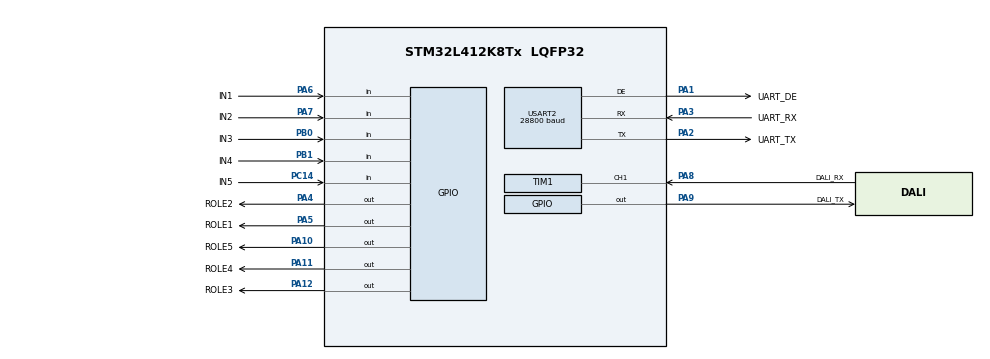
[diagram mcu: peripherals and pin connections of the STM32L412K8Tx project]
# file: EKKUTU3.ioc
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Dma.Request0=USART2_RX
Dma.USART2_RX.0.Direction=DMA_PERIPH_TO_MEMORY
Dma.USART2_RX.0.Instance=DMA1_Channel6
Dma.USART2_RX.0.MemDataAlignment=DMA_MDATAALIGN_BYTE
Dma.USART2_RX.0.MemInc=DMA_MINC_ENABLE
Dma.USART2_RX.0.Mode=DMA_NORMAL
Dma.USART2_RX.0.PeriphDataAlignment=DMA_PDATAALIGN_BYTE
Dma.USART2_RX.0.PeriphInc=DMA_PINC_DISABLE
Dma.USART2_RX.0.Priority=DMA_PRIORITY_LOW
Mcu.Family=STM32L4
Mcu.Name=STM32L412K8Tx
Mcu.Package=LQFP32
NVIC.DMA1_Channel6_IRQn=true\:0\:0\:false\:false\:true\:false\:true\:true
NVIC.PriorityGroup=NVIC_PRIORITYGROUP_4
NVIC.TIM1_BRK_TIM15_IRQn=true\:1\:0\:true\:false\:true\:true\:true\:true
NVIC.TIM1_CC_IRQn=true\:1\:0\:true\:false\:true\:true\:true\:true
NVIC.TIM1_UP_TIM16_IRQn=true\:1\:0\:true\:false\:true\:true\:true\:true
NVIC.TIM2_IRQn=true\:0\:0\:false\:false\:true\:true\:true\:true
NVIC.TIM6_IRQn=true\:1\:0\:true\:false\:true\:true\:true\:true
NVIC.USART2_IRQn=true\:6\:0\:true\:false\:true\:true\:true\:true
PA1.GPIO_Label=UART_DE
PA1.GPIO_PuPd=GPIO_PULLDOWN
PA1.Mode=Hardware Flow Control (RS485)
PA1.Signal=USART2_DE
PA10.GPIO_Label=ROLE5
PA10.Signal=GPIO_Output
PA11.GPIO_Label=ROLE4
PA11.Signal=GPIO_Output
PA12.GPIO_Label=ROLE3
PA12.Signal=GPIO_Output
PA2.GPIO_Label=UART_TX
PA2.Mode=Asynchronous
PA2.Signal=USART2_TX
PA3.GPIO_Label=UART_RX
PA3.Mode=Asynchronous
PA3.Signal=USART2_RX
PA4.GPIO_Label=ROLE2
PA4.Signal=GPIO_Output
PA5.GPIO_Label=ROLE1
PA5.Signal=GPIO_Output
PA6.GPIO_Label=IN1
PA6.Signal=GPIO_Input
PA7.GPIO_Label=IN2
PA7.Signal=GPIO_Input
PA8.GPIO_Label=DALI_RX
PA8.GPIO_PuPd=GPIO_NOPULL
PA8.GPIO_Speed=GPIO_SPEED_FREQ_HIGH
PA8.Signal=S_TIM1_CH1
PA9.GPIO_Label=DALI_TX
PA9.GPIO_Speed=GPIO_SPEED_FREQ_MEDIUM
PA9.PinState=GPIO_PIN_SET
PA9.Signal=GPIO_Output
PB0.GPIO_Label=IN3
PB0.Signal=GPIO_Input
PB1.GPIO_Label=IN4
PB1.Signal=GPIO_Input
PC14-OSC32_IN\ (PC14).GPIO_Label=IN5
PC14-OSC32_IN\ (PC14).GPIO_PuPd=GPIO_PULLUP
PC14-OSC32_IN\ (PC14).Signal=GPIO_Input
ProjectManager.HeapSize=0x200
ProjectManager.StackSize=0x400
ProjectManager.TargetToolchain=CMake
RCC.ADCFreq_Value=48000000
RCC.AHBFreq_Value=48000000
RCC.APB1Freq_Value=48000000
RCC.APB1TimFreq_Value=48000000
RCC.APB2Freq_Value=48000000
RCC.APB2TimFreq_Value=48000000
RCC.CortexFreq_Value=48000000
RCC.HCLKFreq_Value=48000000
RCC.HSE_VALUE=8000000
RCC.HSI48_VALUE=48000000
RCC.HSI_VALUE=16000000
RCC.LSE_VALUE=32768
RCC.MSIClockRange=RCC_MSIRANGE_11
RCC.MSI_VALUE=48000000
RCC.SYSCLKFreq_VALUE=48000000
RCC.USBFreq_Value=48000000
RCC.VCOOutputFreq_Value=384000000
SH.S_TIM1_CH1.0=TIM1_CH1,Input_Capture1_from_TI1
TIM1.Channel-Input_Capture1_from_TI1=TIM_CHANNEL_1
TIM1.ICFilter_CH1=10
TIM1.ICPolarity_CH1=TIM_INPUTCHANNELPOLARITY_BOTHEDGE
TIM1.Period=5000
TIM1.Prescaler=47
TIM15.Period=9999
TIM15.Prescaler=479
TIM16.Prescaler=47
TIM2.Period=9999
TIM2.Prescaler=47
TIM6.Period=9999
TIM6.Prescaler=479
USART2.BaudRate=28800
USART2.VirtualMode-Asynchronous=VM_ASYNC
USART2.VirtualMode-Hardware\ Flow\ Control\ (RS485)=VM_ASYNC
VP_TIM15_VS_ClockSourceINT.Mode=Internal
VP_TIM15_VS_OPM.Mode=OPM_bit
VP_TIM16_VS_ClockSourceINT.Mode=Enable_Timer
VP_TIM1_VS_ClockSourceINT.Mode=Internal
VP_TIM2_VS_ClockSourceINT.Mode=Internal
VP_TIM6_VS_ClockSourceINT.Mode=Enable_Timer
board=custom

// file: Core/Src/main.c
/* USER CODE BEGIN Header */

    #include <sys/types.h>
    #include <time.h>

    /*
      5 adet dali lamba adresler.

      5. Tuş Lamba Aç Kapat
         **** Uzun Basma Adresleri SIL
            ---------
      RS485 destegi var. Tüm komutlar "rl1_" öneki taşır — STM32 bu öneki
      görünce içeriğe bakmadan RS485<->ESP32 arasında olduğu gibi iletir,
      yeni bir rl1_ komutu eklemek STM32 tarafında değişiklik gerektirmez.

      Komutlar:
        {"com":"rl1_adres","dev":xx,"adr":yy}
           dev : 1 Lamba
                 2 Lamba
                 3 Lamba
                 4 Lamba
                 5 Lamba
           adr : 0-63 veya 255 (adresi sil)

        {"com":"rl1_get_adres"}              -> cevap: {"com":"rl1_get_adres","adr":[a1,a2,a3,a4,a5]}
           5 kanalın (Lamba 1-5) o anki DALI adreslerini tek seferde döner.
           255 = adres atanmamış.

        {"com":"rl1_status","dev":xx,"durum":yy}
           dev : 1-5
           durum :   0 Close
                     1 Open
                     2 Toggle

        {"com":"rl1_get_id"}                 -> cevap: {"com":"rl1_get_id","id":X,"frmtype":Y,"fwver":"Z"}
           frmtype : firmware/donanım tipi, aynı rl1_ protokolünü konuşan farklı
                     uç kartları ayırt etmek için. ROLE1 (5li röle) = 1.
           fwver   : gömülü firmware versiyonu (RL1_FW_VERSION), configurator'da
                     gösterilmek üzere.
        {"com":"rl1_set_id","id":X}          -> board'un kalıcı RS485 kimliğini atar
                                                 (X<254; 254/255 ayrılmış)

        {"com":"rl1_set_tustype","dev":xx,"type":yy}
           dev : 1-5 (Lamba N'nin fiziksel tuşu)
           type: 0 = toggle (basma onaylanınca aç/kapa değiştir, varsayılan)
                 1 = momentary (basılıyken aç, bırakılınca kapat)
        {"com":"rl1_get_tustype"}            -> cevap: {"com":"rl1_get_tustype","type":[t1,t2,t3,t4,t5]}

        {"com":"rl1_reset_params","dev":xx}  -> cevap: {"com":"rl1_reset_params","dev":xx,"ok":1}
           dev : 1-5
           İlgili kanalın DALI parametrelerini (groups, min/max/power_on/
           system_failure level, fade/efade, PHM) fabrika varsayılanına
           döndürür. short_address/uart_ID/tus_type'a DOKUNMAZ — eski struct
           layout'uyla flaşlanmış (def=0x55 zaten yazılı, read_eeprom'daki
           ilklendirme hiç tetiklenmemiş) kartlarda bu alanlarda çöp veri
           kalabiliyor; bu komut ST-Link olmadan, sahada RS485 üzerinden
           düzeltilmesini sağlar.

        --- Üretim/Fabrika Testi (test masası, adresleme ÖNCESİ) ---
        {"com":"rl1_status_all","durum":yy}  -> cevap yok (fire-and-forget)
           5 rölenin HEPSİNİ birden etkiler. durum: rl1_status ile aynı
           (0=Kapat,1=Aç,2=Toggle). Operatör tüm röleleri tek komutla
           açıp/kapatıp hepsinin tık sesini/çalıştığını duyabilsin diye.

        {"com":"rl1_set_testmode","mode":X}  -> cevap: {"com":"rl1_set_testmode","mode":X}
           X: 1=aç, 0=kapat. SADECE RAM'de tutulur, EEPROM'a yazılmaz —
           her güç kesilmesinde otomatik false'a döner (fail-safe: sahaya
           giden bir kart yanlışlıkla test modunda kalmaz).
        {"com":"rl1_get_testmode"}           -> cevap: {"com":"rl1_get_testmode","mode":X}

           Test modu AÇIKKEN: fiziksel Tus1-5'ten biri basılınca/bırakılınca,
           normal lokal röle davranışına EK OLARAK RS485'e de bildirilir:
           {"com":"rl1_tus","dev":xx,"durum":yy}  (dev:1-5, durum:0=bırakıldı/1=basıldı)
           Fabrika test ekranı bunu dinleyip operatörün 5 tuşa da bastığını
           canlı olarak doğrulayabilsin diye.
            --------
    Created Version 2.0
      Tarih : 16.05.2025
    Version 2.1 — rl1_reset_params, rl1_status_all, rl1_set/get_testmode,
      test modunda rl1_tus tuş raporlama
      Tarih : 19.08.2026

    -----------------------------------

    TIM1 DaliRX Timer 1us
    TIM16 Dali Delay Timer 1us
    TIM15 Dali Twice timer (one pulse) 100ms
    Tim6 Sleep Timer 100ms

    Tim2  Global Timer 10ms taşma
    */

/**
  ******************************************************************************
  * @file           : main.c
  * @brief          : Main program body
  ******************************************************************************
  * @attention
  *
  * Copyright (c) 2026 STMicroelectronics.
  * All rights reserved.
  *
  * This software is licensed under terms that can be found in the LICENSE file
  * in the root directory of this software component.
  * If no LICENSE file comes with this software, it is provided AS-IS.
  *
  ******************************************************************************
  */
/* USER CODE END Header */
#include "main.h"

/* USER CODE BEGIN Includes */
/*.   ------------- ONEMLI ---------------
     İşlemci normalde ramden çalışmak için programlanmış. Boot0 pinini (31 nolu pin)
     10k ile GND ye çekmediğimizden start ramden yapılıyor. BOOT0 pinini fiziksel
     GND ye çekmemek için OPTION BYTE üzerinden SWBOOT0 ı uncheck yapıyoruz.
     Bunun için PRG programı OB sekmesi User configde nSWBOOT0 ın checkini kaldırıp
     kaydediyoruz.
*/

#include "string.h"
#include "dali_cln03.h"
#include "eprom.h"
#include "stdio.h"
#include "dali_tool.h"
#include "relay.h"
#include "stm32l4xx_ll_gpio.h"
#include "jsmn.h"
#include "jsmn_tool.c"

/* USER CODE END Includes */

/* USER CODE BEGIN PD */
#define RX_BUFFER_SIZE 512
uint8_t uart2_rx_buffer[RX_BUFFER_SIZE];

DALI_t dali;
volatile DALI_Address_t AdresList[DALI_ADDRESS_COUNT] = {0};
Relay_t relays[5];

/* USER CODE END PD */

UART_HandleTypeDef huart2;
DMA_HandleTypeDef hdma_usart2_rx;

/* USER CODE BEGIN PV */
#define BTN_DEBOUNCE_TICKS 20 // 200ms (20 * 10ms)
static uint16_t btn_debounce_timers[5] = {BTN_DEBOUNCE_TICKS, BTN_DEBOUNCE_TICKS, BTN_DEBOUNCE_TICKS, BTN_DEBOUNCE_TICKS, BTN_DEBOUNCE_TICKS};
static uint8_t  btn_last_raw_states[5] = {0};

// Fabrika/atölye test modu — SADECE RAM'de tutulur, EEPROM'a YAZILMAZ.
// Kasıtlı: her güç kesilip-verilmesinde (kutulama/nakliye/saha kurulumu
// sırasında) otomatik olarak kapanır (fail-safe varsayılan=false), böylece
// "test modunu kapatmayı unuttuk" diye sahada gereksiz RS485 trafiği üreten
// bir kart kalmaz. rl1_set_testmode ile açılır/kapanır.
static volatile bool rl1_test_mode = false;

// rl1_dalitst: DALI çıkışının fiziksel olarak çalışıp çalışmadığını
// (osiloskopla) görsel test etmek için — komut her geldiğinde TOGGLE olur.
// Aktifken 2sn boyunca her 10ms'de bir DALI "1" biti gönderilir (hat üzerinde
// ~50Hz'lik gözle görülür bir aktivite), sonra 2sn tamamen durur, bu döngü
// tekrar komut gelene (ya da test modu kapanana) kadar sürer. RAM-only,
// EEPROM'a yazılmaz. Zamanlama TIM2'nin zaten var olan 10ms tick'inde
// (Timeout_Callback) bir sayaç ile yönetiliyor — RTOS/thread gerekmez.
static volatile bool rl1_dalitst_active = false;
static volatile bool rl1_dalitst_on_phase = false;
static volatile uint16_t rl1_dalitst_counter = 0;
#define RL1_DALITST_PHASE_TICKS 200 // 200 * 10ms = 2000ms

// Tus1-5'in hepsi artık EXTI ile tetikleniyor. Bu bayraklar bir kenar
// geldiğini işaret eder; Button_Filter_Update sadece bayrak set edildiğinde
// ilgili tuşun debounce'unu çalıştırır, aksi halde her 10ms'de boşuna pin okumaz.
volatile bool tus1_watch_active = false;
volatile bool tus2_watch_active = false;
volatile bool tus3_watch_active = false;
volatile bool tus4_watch_active = false;
volatile bool tus5_watch_active = false;

/* USER CODE END PV */

void SystemClock_Config(void);
static void MX_GPIO_Init(void);
static void MX_DMA_Init(void);
static void MX_TIM1_Init(void);
static void MX_TIM6_Init(void);
static void MX_TIM15_Init(void);
static void MX_TIM16_Init(void);
static void MX_USART2_UART_Init(void);
static void MX_TIM2_Init(void);

/* USER CODE BEGIN 0 */

#ifdef __GNUC__
#define PUTCHAR_PROTOTYPE int __io_putchar(int ch)
#else
  #define PUTCHAR_PROTOTYPE int fputc(int ch, FILE *f)
#endif
PUTCHAR_PROTOTYPE {
    uint8_t temp = (uint8_t)ch;
    HAL_UART_Transmit(&huart2, &temp, 1, HAL_MAX_DELAY);
    return ch;
}

void Capture_Callback(TIM_TypeDef *TIMx)
{
   dali.capture_handle(&dali,TIMx);
}

// EXTI1'den (Tus1/IN4/PB1, her iki kenar) çağrılır. Hafif tutulmalı: sadece
// "bir kenar geldi, debounce'a bak" bayrağını set eder, işi Button_Filter_Update
// (10ms tick) yapar — aynı bounce toleransı (500ms) korunur.

void Button1_EXTI_Callback(void)
{
    tus1_watch_active = true;
}

// EXTI0'dan (Tus2/IN3/PB0, her iki kenar) çağrılır — Button1_EXTI_Callback ile aynı desen.
void Button2_EXTI_Callback(void)
{
    tus2_watch_active = true;
}

// EXTI9_5'ten (Tus3/IN2/PA7, her iki kenar) çağrılır — aynı desen.
void Button3_EXTI_Callback(void)
{
    tus3_watch_active = true;
}

// EXTI9_5'ten (Tus4/IN1/PA6, her iki kenar) çağrılır — aynı desen.
void Button4_EXTI_Callback(void)
{
    tus4_watch_active = true;
}

// EXTI15_10'dan (Tus5/IN5/PC14, her iki kenar) çağrılır — aynı desen.
void Button5_EXTI_Callback(void)
{
    tus5_watch_active = true;
}

// EXTI ile tetiklenen tuşlar için ortak debounce: bir kenar gelmediyse
// (*watch_active == false) pini her 10ms'de boşuna okumuyoruz; kenar
// geldiyse seviye BTN_DEBOUNCE_TICKS boyunca kararlı kalınca handler'ı
// çağırıp tekrar uykuya geçiyoruz.
static void Debounce_Watched_Button(volatile bool *watch_active, GPIO_TypeDef *port, uint32_t pin,
                                     uint8_t idx, void (*handler)(uint32_t))
{
    if (!*watch_active) return;

    uint8_t raw = !LL_GPIO_IsInputPinSet(port, pin);
    if (raw != btn_last_raw_states[idx]) {
        btn_debounce_timers[idx] = 0;
        btn_last_raw_states[idx] = raw;
    } else if (btn_debounce_timers[idx] < BTN_DEBOUNCE_TICKS) {
        if (++btn_debounce_timers[idx] == BTN_DEBOUNCE_TICKS) {
            handler(raw);
            *watch_active = false;
        }
    }
}

void Button_Filter_Update(void) {
    Debounce_Watched_Button(&tus1_watch_active, IN4_GPIO_Port, IN4_Pin, 0, Tus1);
    Debounce_Watched_Button(&tus2_watch_active, IN3_GPIO_Port, IN3_Pin, 1, Tus2);
    Debounce_Watched_Button(&tus3_watch_active, IN2_GPIO_Port, IN2_Pin, 2, Tus3);
    Debounce_Watched_Button(&tus4_watch_active, IN1_GPIO_Port, IN1_Pin, 3, Tus4);
    Debounce_Watched_Button(&tus5_watch_active, IN5_GPIO_Port, IN5_Pin, 4, Tus5);
}

void Timeout_Callback(TIM_TypeDef *TIMx)
{
   if (TIMx!= TIM2) {
    dali.timeout_handle(&dali,TIMx);
  } else {
    // TIM2 10ms Interrupt
    for (int i=0;i<5;i++) {
      Relay_HandleTIMER(&relays[i]);
    }

    Button_Filter_Update();

    if (rl1_dalitst_active) {
      if (rl1_dalitst_on_phase) {
        DALI_Send_Test_Tick(&dali);
      }
      if (++rl1_dalitst_counter >= RL1_DALITST_PHASE_TICKS) {
        rl1_dalitst_counter = 0;
        rl1_dalitst_on_phase = !rl1_dalitst_on_phase;
      }
    }
  }
}

void Adr_Reset(void)
{
    LL_GPIO_SetOutputPin(ROLE1_GPIO_Port, ROLE1_Pin);
    for (int i = 0; i < DALI_ADDRESS_COUNT; i++) {
      AdresList[i].short_address = 0xff;
    }
    write_eeprom(AdresList);
    for (int i = 0; i < 10; i++) {
      LL_GPIO_TogglePin(ROLE1_GPIO_Port, ROLE1_Pin);
      LL_mDelay(200);
    }
  NVIC_SystemReset(); //

}

void DaliDataCallback(uint32_t rxdata, uint8_t bit)
{
    if (bit == 16) {
        // 16 bitlik veri: [Adres Byte (8 bit)][Veri Byte (8 bit)]
        uint8_t addr_byte = (uint8_t)((rxdata >> 8) & 0xFF);
        uint8_t data_byte = (uint8_t)(rxdata & 0xFF);

        DALI_DecodedAddr_t addr = DALI_Decode_Address(addr_byte);

        if (addr.type==DALI_ADDR_SPECIAL) {
           if (addr.value==0xA7) { //RANDOMISE
              //uint32_t radr = (my_rand() & 0xFFFFFF);
              uint32_t radr = (my_rand() & 0xFFFFFF);
              for (int i = 0; i < 5; i++) {
                if (relays[i].is_init) {
                    relays[i].config->random_address = radr;
                    radr++;
                }
              }
              return;
          }
        }

        // Tüm Blindlere gelen paketi kontrol etmesi için gönder
        for (int i = 0; i < 5; i++) {
            uint8_t kk=Relay_HandleDALI(&relays[i], addr, data_byte);
            if (kk==1) {
              break;
            }
        }
    } else if (bit == 8) {
        // Genellikle cihazdan gelen cevap (Backward Frame)
        printf("Geri Bildirim (Backward Frame): 0x%02lX\n", rxdata);
    }
}

void DaliErrorCallback(uint8_t err)
{
  if (err==0 || err==1) {
    if (err==1) {
        LL_GPIO_SetOutputPin(GPIOA, ROLE5_Pin);
    } else {
        LL_GPIO_ResetOutputPin(GPIOA, ROLE5_Pin);
    }
  }

}

void DaliSaveCallback(void)
{
  write_eeprom(AdresList);
}

#define MAX_TOKEN 32
#define RL1_FRMTYPE 1 // ROLE1 (5li röle)
#define RL1_FW_VERSION "2.2"

void command_process(char * data)
{
    jsmn_parser p;
    jsmn_init(&p);
    jsmntok_t tokens[MAX_TOKEN];
    jsmn_init(&p);
    int r = jsmn_parse(&p, data, strlen(data), tokens, MAX_TOKEN);
    if (r>0) {
        char command[25];
        if (json_get_value(data, tokens, r, "com", command, sizeof(command)) == 0) {
              if (strcmp(command,"rl1_adres")==0) {
                uint8_t dev=0xFF, adr=0xFF;
                json_get_int(data, tokens, r,"dev",&dev);
                json_get_int(data, tokens, r,"adr",&adr);
                if (dev>0 && dev<6) {
                  if (adr<64 || adr==0xFF) {
                    AdresList[dev-1].short_address = adr;
                    write_eeprom(AdresList);
                  }
                }
              }

              if (strcmp(command,"rl1_get_adres")==0) {
                printf("{\"com\":\"rl1_get_adres\",\"adr\":[%d,%d,%d,%d,%d]}#\r\n",
                    AdresList[0].short_address, AdresList[1].short_address, AdresList[2].short_address,
                    AdresList[3].short_address, AdresList[4].short_address);
              }

              if (strcmp(command,"rl1_status")==0)
              {
                uint8_t dev=0xFF, dur=0xFF;
                json_get_int(data, tokens, r,"dev",&dev);
                json_get_int(data, tokens, r,"durum",&dur);
                if (dev>0 && dev<6) {
                  if (dur==0) Relay_Off(&relays[dev-1]);
                  if (dur==1) Relay_On(&relays[dev-1]);
                  if (dur==2) Relay_Toggle(&relays[dev-1]);
                }
              }

              if (strcmp(command,"rl1_status_all")==0)
              {
                uint8_t dur=0xFF;
                json_get_int(data, tokens, r,"durum",&dur);
                for (uint8_t i=0;i<5;i++) {
                  if (dur==0) Relay_Off(&relays[i]);
                  if (dur==1) Relay_On(&relays[i]);
                  if (dur==2) Relay_Toggle(&relays[i]);
                }
              }

              if (strcmp(command,"rl1_set_testmode")==0) {
                uint8_t mode=0xFF;
                json_get_int(data, tokens, r,"mode",&mode);
                if (mode==0 || mode==1) rl1_test_mode = (mode==1);
                if (!rl1_test_mode) rl1_dalitst_active = false;
                printf("{\"com\":\"rl1_set_testmode\",\"mode\":%d}#\r\n", rl1_test_mode ? 1 : 0);
              }

              if (strcmp(command,"rl1_get_testmode")==0) {
                printf("{\"com\":\"rl1_get_testmode\",\"mode\":%d}#\r\n", rl1_test_mode ? 1 : 0);
              }

              if (strcmp(command,"rl1_dalitst")==0) {
                rl1_dalitst_active = !rl1_dalitst_active;
                rl1_dalitst_counter = 0;
                rl1_dalitst_on_phase = rl1_dalitst_active;
                printf("{\"com\":\"rl1_dalitst\",\"active\":%d}#\r\n", rl1_dalitst_active ? 1 : 0);
              }

              if (strcmp(command,"rl1_get_id")==0) {
                printf("{\"com\":\"rl1_get_id\",\"id\":%d,\"frmtype\":%d,\"fwver\":\"%s\"}#\r\n", AdresList[0].uart_ID, RL1_FRMTYPE, RL1_FW_VERSION);
              }

              if (strcmp(command,"rl1_set_id")==0) {
                uint8_t id=0xFF;
                json_get_int(data, tokens, r,"id",&id);
                // 254: fabrika/blank-flash varsayılanı, 255: ileride broadcast için
                // ayrılmış — ikisi de kalıcı kimlik olarak atanamaz.
                if (id<254) {
                  AdresList[0].uart_ID = id;
                  write_eeprom(AdresList);
                }
                printf("{\"com\":\"rl1_set_id\",\"id\":%d}#\r\n", AdresList[0].uart_ID);
              }

              if (strcmp(command,"rl1_set_tustype")==0) {
                uint8_t dev=0xFF, type=0xFF;
                json_get_int(data, tokens, r,"dev",&dev);
                json_get_int(data, tokens, r,"type",&type);
                if (dev>0 && dev<6 && (type==0 || type==1)) {
                  AdresList[dev-1].tus_type = type;
                  write_eeprom(AdresList);
                }
              }

              if (strcmp(command,"rl1_get_tustype")==0) {
                printf("{\"com\":\"rl1_get_tustype\",\"type\":[%d,%d,%d,%d,%d]}#\r\n",
                    AdresList[0].tus_type, AdresList[1].tus_type, AdresList[2].tus_type,
                    AdresList[3].tus_type, AdresList[4].tus_type);
              }

              if (strcmp(command,"rl1_reset_params")==0) {
                uint8_t dev=0xFF, ok=0;
                json_get_int(data, tokens, r,"dev",&dev);
                if (dev>0 && dev<6) {
                  volatile DALI_Address_t *a = &AdresList[dev-1];
                  a->groups                 = 0x0000;
                  a->PHM                    = 0x1;
                  a->min_level              = a->PHM;
                  a->max_level              = 0xFE;
                  a->power_on_level         = 0xFE;
                  a->system_failure_level   = 0xFE;
                  a->fade_rate              = 0x07;
                  a->fade_time              = 0x00;
                  a->efade_time_base        = 0x00;
                  a->efade_multiplayer      = 0x00;
                  write_eeprom(AdresList);
                  ok=1;
                }
                printf("{\"com\":\"rl1_reset_params\",\"dev\":%d,\"ok\":%d}#\r\n", dev, ok);
              }
        }
    }

}

/* USER CODE END 0 */

int main(void)
{

  /* MCU Configuration--------------------------------------------------------*/

  /* Reset of all peripherals, Initializes the Flash interface and the Systick. */
  HAL_Init();

  /* Configure the system clock */
  SystemClock_Config();

  /* Initialize all configured peripherals */
  MX_GPIO_Init();
  MX_DMA_Init();
  MX_TIM1_Init();
  MX_TIM6_Init();
  MX_TIM15_Init();
  MX_TIM16_Init();
  MX_USART2_UART_Init();
  MX_TIM2_Init();
  /* USER CODE BEGIN 2 */

  my_srand(HAL_GetTick());
  DALI_Timer_t d1t = {TIM1, LL_TIM_CHANNEL_CH1};
  DALI_Pin_t d1Rx = {DALI_RX_GPIO_Port,DALI_RX_Pin};
  DALI_Pin_t d1Tx = {DALI_TX_GPIO_Port,DALI_TX_Pin};

  //HAL_IWDG_Refresh(&hiwdg);

  DALI_Init(&dali,
      d1t,
      TIM16,
      TIM15,
      TIM6,
      d1Rx,d1Tx,
      USART2_IRQn
    );

  read_eeprom(AdresList);
  for (uint8_t i = 0; i < DALI_ADDRESS_COUNT; i++) {
    // AdresList[i].short_address = 20+i;
      AdresList[i].device_type = 0x07;
      AdresList[i].next_device_type = 0x07;
  }

  // Adres Listesi ile eşleştirerek başlat
  Relay_Init(&relays[0], ROLE1_GPIO_Port, ROLE1_Pin,&AdresList[0], &dali, DaliSaveCallback);
  Relay_Init(&relays[1], ROLE2_GPIO_Port, ROLE2_Pin,&AdresList[1], &dali, DaliSaveCallback);
  Relay_Init(&relays[2], ROLE3_GPIO_Port, ROLE3_Pin,&AdresList[2], &dali, DaliSaveCallback);
  Relay_Init(&relays[3], ROLE4_GPIO_Port, ROLE4_Pin,&AdresList[3], &dali, DaliSaveCallback);
  Relay_Init(&relays[4], ROLE5_GPIO_Port, ROLE5_Pin,&AdresList[4], &dali, DaliSaveCallback);

  DALI_Set_DataCallback(&dali,DaliDataCallback);
  DALI_Set_ErrorCallback(&dali,DaliErrorCallback);

  uint16_t flag = dali.flags.hat_error_flag;
  DaliErrorCallback((uint8_t)flag);

  // DMA üzerinden veri alımını başlat
  HAL_UARTEx_ReceiveToIdle_DMA(&huart2, uart2_rx_buffer, sizeof(uart2_rx_buffer));

  Relay_On(&relays[0]);
  HAL_Delay(500);
  Relay_Off(&relays[0]);

  /* USER CODE END 2 */

  /* Infinite loop */
  /* USER CODE BEGIN WHILE */

  LL_TIM_EnableIT_UPDATE(TIM2);
  LL_TIM_EnableCounter(TIM2);

  while (1)
  {
 //   HAL_IWDG_Refresh(&hiwdg);
    dali.loop(&dali);
    /* USER CODE END WHILE */

  }
}

void SystemClock_Config(void)
{
  LL_FLASH_SetLatency(LL_FLASH_LATENCY_2);
  while(LL_FLASH_GetLatency()!= LL_FLASH_LATENCY_2)
  {
  }
  LL_PWR_SetRegulVoltageScaling(LL_PWR_REGU_VOLTAGE_SCALE1);
  while (LL_PWR_IsActiveFlag_VOS() != 0)
  {
  }
  LL_RCC_MSI_Enable();

   /* Wait till MSI is ready */
  while(LL_RCC_MSI_IsReady() != 1)
  {

  }
  LL_RCC_MSI_EnableRangeSelection();
  LL_RCC_MSI_SetRange(LL_RCC_MSIRANGE_11);
  LL_RCC_MSI_SetCalibTrimming(0);
  LL_RCC_SetSysClkSource(LL_RCC_SYS_CLKSOURCE_MSI);

   /* Wait till System clock is ready */
  while(LL_RCC_GetSysClkSource() != LL_RCC_SYS_CLKSOURCE_STATUS_MSI)
  {

  }
  LL_RCC_SetAHBPrescaler(LL_RCC_SYSCLK_DIV_1);
  LL_RCC_SetAPB1Prescaler(LL_RCC_APB1_DIV_1);
  LL_RCC_SetAPB2Prescaler(LL_RCC_APB2_DIV_1);
  LL_SetSystemCoreClock(48000000);

   /* Update the time base */
  if (HAL_InitTick (TICK_INT_PRIORITY) != HAL_OK)
  {
    Error_Handler();
  }
}

static void MX_TIM1_Init(void)
{

  LL_TIM_InitTypeDef TIM_InitStruct = {0};

  LL_GPIO_InitTypeDef GPIO_InitStruct = {0};

  /* Peripheral clock enable */
  LL_APB2_GRP1_EnableClock(LL_APB2_GRP1_PERIPH_TIM1);

  LL_AHB2_GRP1_EnableClock(LL_AHB2_GRP1_PERIPH_GPIOA);
  /**TIM1 GPIO Configuration
  PA8   ------> TIM1_CH1
  */
  GPIO_InitStruct.Pin = DALI_RX_Pin;
  GPIO_InitStruct.Mode = LL_GPIO_MODE_ALTERNATE;
  GPIO_InitStruct.Speed = LL_GPIO_SPEED_FREQ_HIGH;
  GPIO_InitStruct.OutputType = LL_GPIO_OUTPUT_PUSHPULL;
  GPIO_InitStruct.Pull = LL_GPIO_PULL_NO;
  GPIO_InitStruct.Alternate = LL_GPIO_AF_1;
  LL_GPIO_Init(DALI_RX_GPIO_Port, &GPIO_InitStruct);

  /* TIM1 interrupt Init */
  NVIC_SetPriority(TIM1_BRK_TIM15_IRQn, NVIC_EncodePriority(NVIC_GetPriorityGrouping(),1, 0));
  NVIC_EnableIRQ(TIM1_BRK_TIM15_IRQn);
  NVIC_SetPriority(TIM1_UP_TIM16_IRQn, NVIC_EncodePriority(NVIC_GetPriorityGrouping(),1, 0));
  NVIC_EnableIRQ(TIM1_UP_TIM16_IRQn);
  NVIC_SetPriority(TIM1_CC_IRQn, NVIC_EncodePriority(NVIC_GetPriorityGrouping(),1, 0));
  NVIC_EnableIRQ(TIM1_CC_IRQn);

  TIM_InitStruct.Prescaler = 47;
  TIM_InitStruct.CounterMode = LL_TIM_COUNTERMODE_UP;
  TIM_InitStruct.Autoreload = 5000;
  TIM_InitStruct.ClockDivision = LL_TIM_CLOCKDIVISION_DIV1;
  TIM_InitStruct.RepetitionCounter = 0;
  LL_TIM_Init(TIM1, &TIM_InitStruct);
  LL_TIM_DisableARRPreload(TIM1);
  LL_TIM_SetClockSource(TIM1, LL_TIM_CLOCKSOURCE_INTERNAL);
  LL_TIM_SetTriggerOutput(TIM1, LL_TIM_TRGO_RESET);
  LL_TIM_SetTriggerOutput2(TIM1, LL_TIM_TRGO2_RESET);
  LL_TIM_DisableMasterSlaveMode(TIM1);
  LL_TIM_IC_SetActiveInput(TIM1, LL_TIM_CHANNEL_CH1, LL_TIM_ACTIVEINPUT_DIRECTTI);
  LL_TIM_IC_SetPrescaler(TIM1, LL_TIM_CHANNEL_CH1, LL_TIM_ICPSC_DIV1);
  LL_TIM_IC_SetFilter(TIM1, LL_TIM_CHANNEL_CH1, LL_TIM_IC_FILTER_FDIV16_N5);
  LL_TIM_IC_SetPolarity(TIM1, LL_TIM_CHANNEL_CH1, LL_TIM_IC_POLARITY_BOTHEDGE);

}

static void MX_TIM2_Init(void)
{

  LL_TIM_InitTypeDef TIM_InitStruct = {0};

  /* Peripheral clock enable */
  LL_APB1_GRP1_EnableClock(LL_APB1_GRP1_PERIPH_TIM2);

  /* TIM2 interrupt Init */
  NVIC_SetPriority(TIM2_IRQn, NVIC_EncodePriority(NVIC_GetPriorityGrouping(),0, 0));
  NVIC_EnableIRQ(TIM2_IRQn);

  TIM_InitStruct.Prescaler = 47;
  TIM_InitStruct.CounterMode = LL_TIM_COUNTERMODE_UP;
  TIM_InitStruct.Autoreload = 9999;
  TIM_InitStruct.ClockDivision = LL_TIM_CLOCKDIVISION_DIV1;
  LL_TIM_Init(TIM2, &TIM_InitStruct);
  LL_TIM_DisableARRPreload(TIM2);
  LL_TIM_SetClockSource(TIM2, LL_TIM_CLOCKSOURCE_INTERNAL);
  LL_TIM_SetTriggerOutput(TIM2, LL_TIM_TRGO_RESET);
  LL_TIM_DisableMasterSlaveMode(TIM2);

}

static void MX_TIM6_Init(void)
{

  LL_TIM_InitTypeDef TIM_InitStruct = {0};

  /* Peripheral clock enable */
  LL_APB1_GRP1_EnableClock(LL_APB1_GRP1_PERIPH_TIM6);

  /* TIM6 interrupt Init */
  NVIC_SetPriority(TIM6_IRQn, NVIC_EncodePriority(NVIC_GetPriorityGrouping(),1, 0));
  NVIC_EnableIRQ(TIM6_IRQn);

  TIM_InitStruct.Prescaler = 479;
  TIM_InitStruct.CounterMode = LL_TIM_COUNTERMODE_UP;
  TIM_InitStruct.Autoreload = 9999;
  LL_TIM_Init(TIM6, &TIM_InitStruct);
  LL_TIM_DisableARRPreload(TIM6);
  LL_TIM_SetTriggerOutput(TIM6, LL_TIM_TRGO_RESET);
  LL_TIM_DisableMasterSlaveMode(TIM6);

}

static void MX_TIM15_Init(void)
{

  LL_TIM_InitTypeDef TIM_InitStruct = {0};

  /* Peripheral clock enable */
  LL_APB2_GRP1_EnableClock(LL_APB2_GRP1_PERIPH_TIM15);

  /* TIM15 interrupt Init */
  NVIC_SetPriority(TIM1_BRK_TIM15_IRQn, NVIC_EncodePriority(NVIC_GetPriorityGrouping(),1, 0));
  NVIC_EnableIRQ(TIM1_BRK_TIM15_IRQn);

  TIM_InitStruct.Prescaler = 479;
  TIM_InitStruct.CounterMode = LL_TIM_COUNTERMODE_UP;
  TIM_InitStruct.Autoreload = 9999;
  TIM_InitStruct.ClockDivision = LL_TIM_CLOCKDIVISION_DIV1;
  TIM_InitStruct.RepetitionCounter = 0;
  LL_TIM_Init(TIM15, &TIM_InitStruct);
  LL_TIM_DisableARRPreload(TIM15);
  LL_TIM_SetClockSource(TIM15, LL_TIM_CLOCKSOURCE_INTERNAL);
  LL_TIM_SetOnePulseMode(TIM15, LL_TIM_ONEPULSEMODE_SINGLE);
  LL_TIM_SetTriggerOutput(TIM15, LL_TIM_TRGO_RESET);
  LL_TIM_DisableMasterSlaveMode(TIM15);

}

static void MX_TIM16_Init(void)
{

  LL_TIM_InitTypeDef TIM_InitStruct = {0};

  /* Peripheral clock enable */
  LL_APB2_GRP1_EnableClock(LL_APB2_GRP1_PERIPH_TIM16);

  /* TIM16 interrupt Init */
  NVIC_SetPriority(TIM1_UP_TIM16_IRQn, NVIC_EncodePriority(NVIC_GetPriorityGrouping(),1, 0));
  NVIC_EnableIRQ(TIM1_UP_TIM16_IRQn);

  TIM_InitStruct.Prescaler = 47;
  TIM_InitStruct.CounterMode = LL_TIM_COUNTERMODE_UP;
  TIM_InitStruct.Autoreload = 65535;
  TIM_InitStruct.ClockDivision = LL_TIM_CLOCKDIVISION_DIV1;
  TIM_InitStruct.RepetitionCounter = 0;
  LL_TIM_Init(TIM16, &TIM_InitStruct);
  LL_TIM_DisableARRPreload(TIM16);

}

static void MX_USART2_UART_Init(void)
{

  huart2.Instance = USART2;
  huart2.Init.BaudRate = 28800;
  huart2.Init.WordLength = UART_WORDLENGTH_8B;
  huart2.Init.StopBits = UART_STOPBITS_1;
  huart2.Init.Parity = UART_PARITY_NONE;
  huart2.Init.Mode = UART_MODE_TX_RX;
  huart2.Init.HwFlowCtl = UART_HWCONTROL_NONE;
  huart2.Init.OverSampling = UART_OVERSAMPLING_16;
  huart2.Init.OneBitSampling = UART_ONE_BIT_SAMPLE_DISABLE;
  huart2.AdvancedInit.AdvFeatureInit = UART_ADVFEATURE_NO_INIT;
  if (HAL_RS485Ex_Init(&huart2, UART_DE_POLARITY_HIGH, 0, 0) != HAL_OK)
  {
    Error_Handler();
  }

}

static void MX_DMA_Init(void)
{

  /* DMA controller clock enable */
  __HAL_RCC_DMA1_CLK_ENABLE();

  /* DMA interrupt init */
  /* DMA1_Channel6_IRQn interrupt configuration */
  HAL_NVIC_SetPriority(DMA1_Channel6_IRQn, 0, 0);
  HAL_NVIC_EnableIRQ(DMA1_Channel6_IRQn);

}

static void MX_GPIO_Init(void)
{
  LL_GPIO_InitTypeDef GPIO_InitStruct = {0};

  /* GPIO Ports Clock Enable */
  LL_AHB2_GRP1_EnableClock(LL_AHB2_GRP1_PERIPH_GPIOC);
  LL_AHB2_GRP1_EnableClock(LL_AHB2_GRP1_PERIPH_GPIOA);
  LL_AHB2_GRP1_EnableClock(LL_AHB2_GRP1_PERIPH_GPIOB);

  /**/
  LL_GPIO_ResetOutputPin(GPIOA, ROLE2_Pin|ROLE1_Pin|ROLE5_Pin|ROLE4_Pin
                          |ROLE3_Pin);

  /**/
  LL_GPIO_SetOutputPin(DALI_TX_GPIO_Port, DALI_TX_Pin);

  /**/
  GPIO_InitStruct.Pin = IN5_Pin;
  GPIO_InitStruct.Mode = LL_GPIO_MODE_INPUT;
  GPIO_InitStruct.Pull = LL_GPIO_PULL_UP;
  LL_GPIO_Init(IN5_GPIO_Port, &GPIO_InitStruct);

  /**/
  GPIO_InitStruct.Pin = ROLE2_Pin|ROLE1_Pin|ROLE5_Pin|ROLE4_Pin
                          |ROLE3_Pin;
  GPIO_InitStruct.Mode = LL_GPIO_MODE_OUTPUT;
  GPIO_InitStruct.Speed = LL_GPIO_SPEED_FREQ_LOW;
  GPIO_InitStruct.OutputType = LL_GPIO_OUTPUT_PUSHPULL;
  GPIO_InitStruct.Pull = LL_GPIO_PULL_NO;
  LL_GPIO_Init(GPIOA, &GPIO_InitStruct);

  /**/
  GPIO_InitStruct.Pin = IN1_Pin|IN2_Pin;
  GPIO_InitStruct.Mode = LL_GPIO_MODE_INPUT;
  GPIO_InitStruct.Pull = LL_GPIO_PULL_NO;
  LL_GPIO_Init(GPIOA, &GPIO_InitStruct);

  /**/
  GPIO_InitStruct.Pin = IN3_Pin|IN4_Pin;
  GPIO_InitStruct.Mode = LL_GPIO_MODE_INPUT;
  GPIO_InitStruct.Pull = LL_GPIO_PULL_NO;
  LL_GPIO_Init(GPIOB, &GPIO_InitStruct);

  /* Tus1 (IN4/PB1) artık EXTI ile tetikleniyor — her iki kenarda da
     (basma/bırakma) kesme üretir, debounce Button_Filter_Update'te. */
  LL_APB2_GRP1_EnableClock(LL_APB2_GRP1_PERIPH_SYSCFG);
  LL_SYSCFG_SetEXTISource(LL_SYSCFG_EXTI_PORTB, LL_SYSCFG_EXTI_LINE1);
  {
    LL_EXTI_InitTypeDef EXTI_InitStruct = {0};
    EXTI_InitStruct.Line_0_31 = LL_EXTI_LINE_1;
    EXTI_InitStruct.LineCommand = ENABLE;
    EXTI_InitStruct.Mode = LL_EXTI_MODE_IT;
    EXTI_InitStruct.Trigger = LL_EXTI_TRIGGER_RISING_FALLING;
    LL_EXTI_Init(&EXTI_InitStruct);
  }
  NVIC_SetPriority(EXTI1_IRQn, NVIC_EncodePriority(NVIC_GetPriorityGrouping(),0, 0));
  NVIC_EnableIRQ(EXTI1_IRQn);

  /* Tus2 (IN3/PB0) da aynı şekilde EXTI ile tetikleniyor. */
  LL_SYSCFG_SetEXTISource(LL_SYSCFG_EXTI_PORTB, LL_SYSCFG_EXTI_LINE0);
  {
    LL_EXTI_InitTypeDef EXTI_InitStruct = {0};
    EXTI_InitStruct.Line_0_31 = LL_EXTI_LINE_0;
    EXTI_InitStruct.LineCommand = ENABLE;
    EXTI_InitStruct.Mode = LL_EXTI_MODE_IT;
    EXTI_InitStruct.Trigger = LL_EXTI_TRIGGER_RISING_FALLING;
    LL_EXTI_Init(&EXTI_InitStruct);
  }
  NVIC_SetPriority(EXTI0_IRQn, NVIC_EncodePriority(NVIC_GetPriorityGrouping(),0, 0));
  NVIC_EnableIRQ(EXTI0_IRQn);

  /* Tus3 (IN2/PA7) da aynı şekilde EXTI ile tetikleniyor. PA7, pin 5-9
     grubunun paylaşımlı EXTI9_5_IRQn vektörünü kullanıyor. */
  LL_SYSCFG_SetEXTISource(LL_SYSCFG_EXTI_PORTA, LL_SYSCFG_EXTI_LINE7);
  {
    LL_EXTI_InitTypeDef EXTI_InitStruct = {0};
    EXTI_InitStruct.Line_0_31 = LL_EXTI_LINE_7;
    EXTI_InitStruct.LineCommand = ENABLE;
    EXTI_InitStruct.Mode = LL_EXTI_MODE_IT;
    EXTI_InitStruct.Trigger = LL_EXTI_TRIGGER_RISING_FALLING;
    LL_EXTI_Init(&EXTI_InitStruct);
  }
  NVIC_SetPriority(EXTI9_5_IRQn, NVIC_EncodePriority(NVIC_GetPriorityGrouping(),0, 0));
  NVIC_EnableIRQ(EXTI9_5_IRQn);

  /* Tus4 (IN1/PA6) da aynı şekilde EXTI ile tetikleniyor. PA6 da EXTI9_5_IRQn
     vektörünü Tus3 (PA7) ile paylaşıyor — NVIC zaten yukarıda açıldı. */
  LL_SYSCFG_SetEXTISource(LL_SYSCFG_EXTI_PORTA, LL_SYSCFG_EXTI_LINE6);
  {
    LL_EXTI_InitTypeDef EXTI_InitStruct = {0};
    EXTI_InitStruct.Line_0_31 = LL_EXTI_LINE_6;
    EXTI_InitStruct.LineCommand = ENABLE;
    EXTI_InitStruct.Mode = LL_EXTI_MODE_IT;
    EXTI_InitStruct.Trigger = LL_EXTI_TRIGGER_RISING_FALLING;
    LL_EXTI_Init(&EXTI_InitStruct);
  }

  /* Tus5 (IN5/PC14) da aynı şekilde EXTI ile tetikleniyor. PC14, pin 10-15
     grubunun paylaşımlı EXTI15_10_IRQn vektörünü kullanıyor. */
  LL_SYSCFG_SetEXTISource(LL_SYSCFG_EXTI_PORTC, LL_SYSCFG_EXTI_LINE14);
  {
    LL_EXTI_InitTypeDef EXTI_InitStruct = {0};
    EXTI_InitStruct.Line_0_31 = LL_EXTI_LINE_14;
    EXTI_InitStruct.LineCommand = ENABLE;
    EXTI_InitStruct.Mode = LL_EXTI_MODE_IT;
    EXTI_InitStruct.Trigger = LL_EXTI_TRIGGER_RISING_FALLING;
    LL_EXTI_Init(&EXTI_InitStruct);
  }
  NVIC_SetPriority(EXTI15_10_IRQn, NVIC_EncodePriority(NVIC_GetPriorityGrouping(),0, 0));
  NVIC_EnableIRQ(EXTI15_10_IRQn);

  /**/
  GPIO_InitStruct.Pin = DALI_TX_Pin;
  GPIO_InitStruct.Mode = LL_GPIO_MODE_OUTPUT;
  GPIO_InitStruct.Speed = LL_GPIO_SPEED_FREQ_MEDIUM;
  GPIO_InitStruct.OutputType = LL_GPIO_OUTPUT_PUSHPULL;
  GPIO_InitStruct.Pull = LL_GPIO_PULL_NO;
  LL_GPIO_Init(DALI_TX_GPIO_Port, &GPIO_InitStruct);

}

/* USER CODE BEGIN 4 */

// tus_type EEPROM'dan okunuyor (AdresList[idx].tus_type): 1 = momentary
// (basılıyken aç, bırakılınca kapat), başka her değer (0 dahil, ve eski
// kartlarda henüz hiç yazılmamış olabilecek rastgele leftover baytlar dahil)
// güvenli varsayılan olan toggle'a düşer.
static void Tus_Common(uint8_t idx, uint32_t status) {
  // Test modunda: SADECE fiziksel tuşun basılıp/bırakıldığını RS485'e
  // bildir, lokal röleyi TETİKLEME — fabrika testi input'un (butonun)
  // çalışıp çalışmadığını doğrular, çıkışı değil.
  if (rl1_test_mode) {
    printf("{\"com\":\"rl1_tus\",\"dev\":%d,\"durum\":%lu}#\r\n", idx+1, status);
    return;
  }

  if (AdresList[idx].tus_type == 1) {
    if (status == 1) Relay_On(&relays[idx]); else Relay_Off(&relays[idx]);
  } else {
    if (status == 1) Relay_Toggle(&relays[idx]);
  }
}

void Tus1(uint32_t status){ Tus_Common(0, status); }
void Tus2(uint32_t status){ Tus_Common(1, status); }
void Tus3(uint32_t status){ Tus_Common(2, status); }
void Tus4(uint32_t status){ Tus_Common(3, status); }
void Tus5(uint32_t status){ Tus_Common(4, status); }

void HAL_UART_ErrorCallback(UART_HandleTypeDef *huart) {
    //Uartta hata oluşur ve flaglar temizlenmez ise uart kilitlenir.
    //Bu nedenle Uart4 de hata oluşursa bayrakları temizliyoruz
    if (huart->Instance == USART2) {
        // 1. Hatayı temizle (ORE, FE, NE, PE gibi bayraklar)
        __HAL_UART_CLEAR_OREFLAG(huart);
        __HAL_UART_CLEAR_NEFLAG(huart);
        __HAL_UART_CLEAR_FEFLAG(huart);

        // 2. RX işlemini tekrar başlat
        HAL_UARTEx_ReceiveToIdle_DMA(&huart2, uart2_rx_buffer, sizeof(uart2_rx_buffer));
    }
}

void HAL_UARTEx_RxEventCallback(UART_HandleTypeDef *huart, uint16_t Size)
{
    if (huart->Instance == USART2)
    {
        // Buffer içinde # karakterini ara
        uint8_t found = 0;
        for(uint16_t i = 0; i < Size; i++) {
            if(uart2_rx_buffer[i] == '#') { found = 1; break; }
                                           }
        if (found==1) {
          command_process((char *)uart2_rx_buffer);
        }
        // 3. DMA'yı tekrar kur
        memset(uart2_rx_buffer, 0, sizeof(uart2_rx_buffer));
        HAL_UARTEx_ReceiveToIdle_DMA(&huart2, uart2_rx_buffer, sizeof(uart2_rx_buffer));
    }
}

/* USER CODE END 4 */

void Error_Handler(void)
{
  __disable_irq();
  while (1)
  {
  }
}
